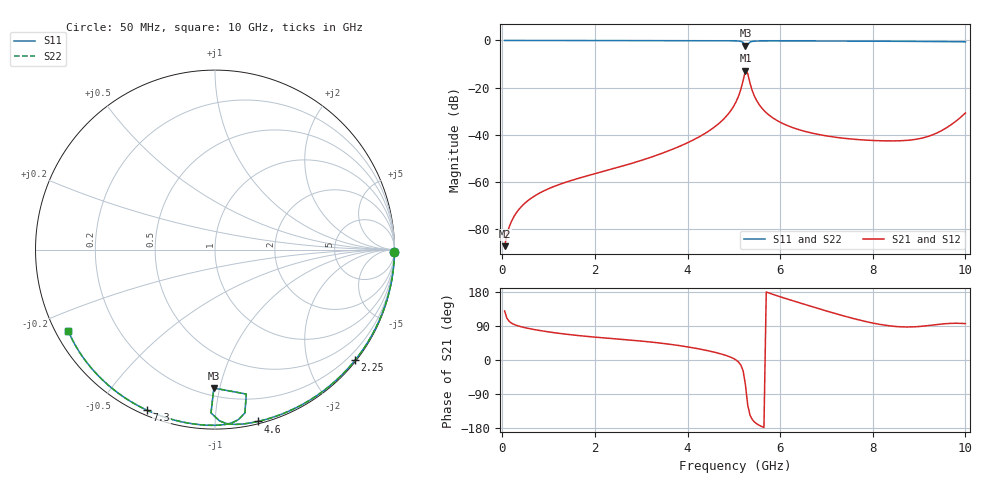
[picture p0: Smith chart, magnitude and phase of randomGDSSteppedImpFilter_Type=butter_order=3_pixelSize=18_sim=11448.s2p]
! freq	dB(S11)	phase(S11)	dB(S12)	phase(S12)
!  dB(S21)	phase(S21)	dB(S22)	phase(S22)
!S-par simulation data
#  GHz  S  DB  R 50
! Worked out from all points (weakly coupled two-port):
!   200 points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, 50 MHz to 10 GHz, reference 50 ohm
!   highest |S21| = -12.87 dB at 5.25 GHz (marker M1); lowest = -87.2 dB at 50 MHz (marker M2)
!   lowest |S11| = -2.3 dB at 5.25 GHz (marker M3), VSWR 7.75, Z = 12.6 - j48 ohm
!   |S11| at or under -10 dB: nowhere
!   |S22| runs from -2.3 to 0.0 dB; largest |S21 - S12| = 0
!   S11 on the Smith chart (normalised r, x): 50 MHz: open; 2.25 GHz: 0.03, -2.88; 4.6 GHz: 0.02, -1.28; 7.3 GHz: 0.02, -0.66; 10 GHz: 0.04, -0.26
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0.05  -0.00 -0.9  -87.18 129.3  -87.18 129.3  -0.00 -0.9
0.15  -0.00 -2.6  -78.98 101.9  -78.98 101.9  -0.00 -2.6
0.4  -0.00 -6.9  -70.66 87.9  -70.66 87.9  -0.00 -6.9
0.65  -0.01 -11.2  -66.50 81.2  -66.50 81.2  -0.01 -11.2
1.75  -0.04 -29.9  -57.83 63.2  -57.83 63.2  -0.04 -29.9
2.25  -0.05 -38.3  -55.14 57.7  -55.14 57.7  -0.05 -38.2
3.4  -0.08 -56.9  -48.17 44.8  -48.17 44.8  -0.08 -56.9
4.1  -0.10 -68.0  -42.40 32.5  -42.40 32.5  -0.10 -68.0
4.6  -0.12 -76.0  -36.41 20.0  -36.41 20.0  -0.12 -76.0
4.85  -0.14 -80.4  -31.83 11.2  -31.83 11.2  -0.14 -80.4
5.05  -0.20 -84.8  -25.90 -0.2  -25.90 -0.2  -0.20 -84.8
5.2  -0.82 -91.4  -17.01 -28.3  -17.01 -28.3  -0.82 -91.4
5.25  -2.25 -90.5  -12.87 -65.0  -12.87 -65.0  -2.25 -90.5
5.3  -1.69 -77.8  -14.04 -119.3  -14.04 -119.3  -1.68 -77.8
5.45  -0.29 -84.0  -23.84 -164.2  -23.84 -164.2  -0.29 -84.0
5.7  -0.19 -89.5  -30.62 179.5  -30.62 179.5  -0.19 -89.5
6.1  -0.18 -96.0  -35.60 163.0  -35.60 163.0  -0.18 -95.9
6.7  -0.21 -104.7  -39.31 140.4  -39.31 140.4  -0.21 -104.7
7.3  -0.25 -113.0  -41.28 118.8  -41.28 118.8  -0.25 -113.0
8.35  -0.34 -127.4  -42.57 90.3  -42.57 90.3  -0.34 -127.4
9.25  -0.44 -139.7  -40.29 91.7  -40.29 91.7  -0.44 -139.7
10  -0.60 -151.1  -30.74 96.0  -30.74 96.0  -0.60 -151.1
